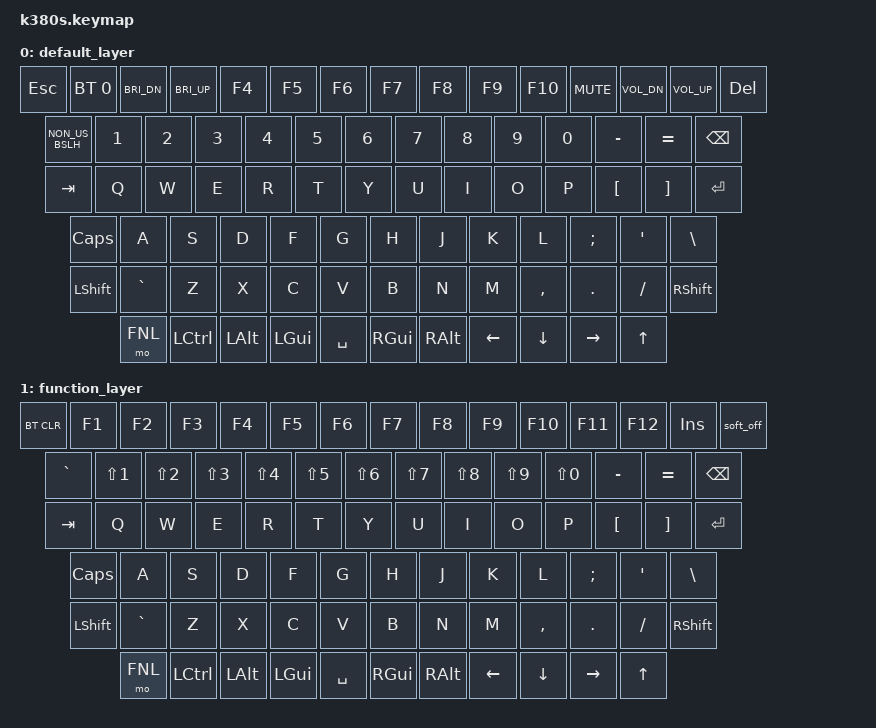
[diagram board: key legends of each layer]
/*
 * Copyright (c) 2024 The ZMK Contributors
 *
 * SPDX-License-Identifier: MIT
 */

/* WARNING: bindings below use US/QWERTY HID keycodes (&kp Q, &kp SEMI, ...)
 * matched to physical key position, not to any printed legend. If your OS
 * keyboard layout is set to AZERTY, typed characters will NOT match this
 * keyboard's printed legends - set the OS layout to US/QWERTY, or remap the
 * bindings below to match AZERTY key positions instead. */

#include <behaviors.dtsi>
#include <dt-bindings/zmk/keys.h>
#include <dt-bindings/zmk/bt.h>
#include <dt-bindings/zmk/outputs.h>

#define BASE 0
#define FNL  1

/ {
    keymap {
        compatible = "zmk,keymap";

        default_layer {
            bindings = <
&kp ESC    &bt BT_SEL 0  &kp C_BRI_DN   &kp C_BRI_UP    &kp F4  &kp F5  &kp F6  &kp F7  &kp F8  &kp F9    &kp F10   &kp C_MUTE   &kp C_VOL_DN    &kp C_VOL_UP   &kp DEL
&kp NON_US_BSLH   &kp N1  &kp N2   &kp N3    &kp N4  &kp N5  &kp N6  &kp N7  &kp N8  &kp N9 &kp N0    &kp MINUS &kp EQUAL  &kp BSPC
&kp TAB    &kp Q   &kp W    &kp E     &kp R   &kp T   &kp Y   &kp U   &kp I   &kp  O    &kp P     &kp LBKT  &kp RBKT   &kp RET
&kp CLCK   &kp A   &kp S    &kp D     &kp F   &kp G   &kp H   &kp J   &kp K   &kp  L    &kp SEMI  &kp SQT   &kp BSLH
&kp LSHFT  &kp GRAVE  &kp Z    &kp X     &kp C   &kp V   &kp B   &kp N   &kp M   &kp COMMA &kp DOT   &kp FSLH         &kp RSHFT
&mo FNL &kp LCTRL &kp LALT &kp LGUI             &kp SPACE                 &kp RGUI &kp RALT  &kp LEFT  &kp DOWN &kp RIGHT  &kp UP
            >;
        };

        function_layer {
            bindings = <
&bt BT_CLR &kp F1 &kp F2 &kp F3 &kp F4  &kp F5  &kp F6  &kp F7  &kp F8  &kp F9    &kp F10   &kp F11   &kp F12    &kp INS   &soft_off
&kp GRAV   &kp LS(N1)  &kp LS(N2)   &kp LS(N3)    &kp LS(N4)  &kp LS(N5)  &kp LS(N6)  &kp LS(N7)  &kp LS(N8)  &kp LS(N9)    &kp LS(N0)    &kp MINUS &kp EQUAL  &kp BSPC
&kp TAB    &kp Q        &kp W        &kp E        &kp R         &kp T   &kp Y   &kp U   &kp I   &kp  O    &kp P     &kp LBKT  &kp RBKT   &kp RET
&kp CLCK   &kp A        &kp S        &kp D        &kp F         &kp G   &kp H   &kp J   &kp K   &kp  L    &kp SEMI  &kp SQT   &kp BSLH
&kp LSHFT  &kp GRAVE       &kp Z        &kp X        &kp C         &kp V   &kp B   &kp N   &kp M   &kp COMMA &kp DOT   &kp FSLH         &kp RSHFT
&mo FNL &kp LCTRL &kp LALT &kp LGUI             &kp SPACE                 &kp RGUI &kp RALT  &kp LEFT  &kp DOWN &kp RIGHT  &kp UP
            >;
        };
    };
};
